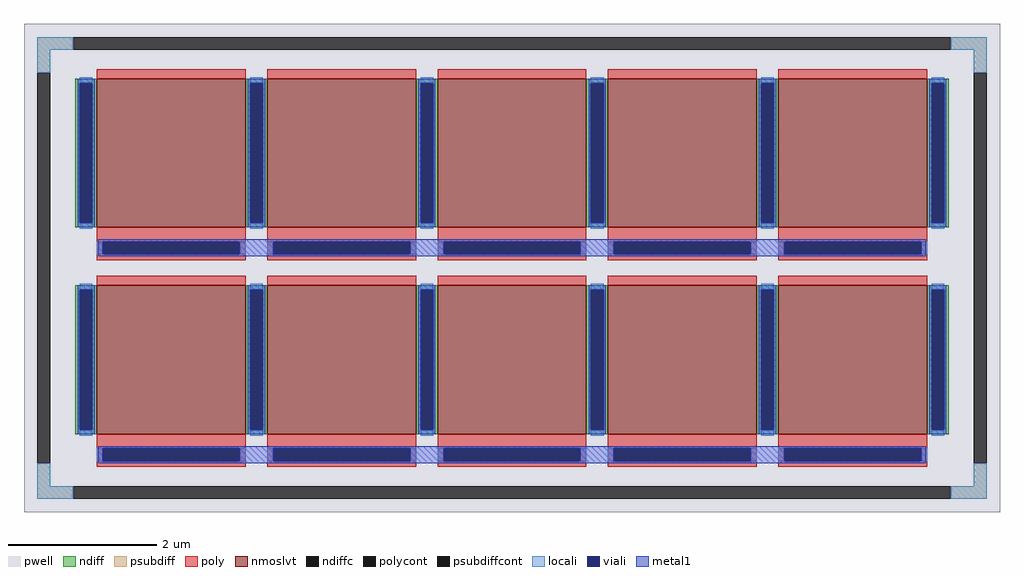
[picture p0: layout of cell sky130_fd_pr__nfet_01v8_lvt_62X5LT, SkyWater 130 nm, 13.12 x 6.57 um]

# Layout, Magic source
magic
tech sky130A
magscale 1 2
<< pwell >>
rect -1312 -657 1312 657
<< nmoslvt >>
rect -1116 109 -716 509
rect -658 109 -258 509
rect -200 109 200 509
rect 258 109 658 509
rect 716 109 1116 509
rect -1116 -447 -716 -47
rect -658 -447 -258 -47
rect -200 -447 200 -47
rect 258 -447 658 -47
rect 716 -447 1116 -47
<< ndiff >>
rect -1174 497 -1116 509
rect -1174 121 -1162 497
rect -1128 121 -1116 497
rect -1174 109 -1116 121
rect -716 497 -658 509
rect -716 121 -704 497
rect -670 121 -658 497
rect -716 109 -658 121
rect -258 497 -200 509
rect -258 121 -246 497
rect -212 121 -200 497
rect -258 109 -200 121
rect 200 497 258 509
rect 200 121 212 497
rect 246 121 258 497
rect 200 109 258 121
rect 658 497 716 509
rect 658 121 670 497
rect 704 121 716 497
rect 658 109 716 121
rect 1116 497 1174 509
rect 1116 121 1128 497
rect 1162 121 1174 497
rect 1116 109 1174 121
rect -1174 -59 -1116 -47
rect -1174 -435 -1162 -59
rect -1128 -435 -1116 -59
rect -1174 -447 -1116 -435
rect -716 -59 -658 -47
rect -716 -435 -704 -59
rect -670 -435 -658 -59
rect -716 -447 -658 -435
rect -258 -59 -200 -47
rect -258 -435 -246 -59
rect -212 -435 -200 -59
rect -258 -447 -200 -435
rect 200 -59 258 -47
rect 200 -435 212 -59
rect 246 -435 258 -59
rect 200 -447 258 -435
rect 658 -59 716 -47
rect 658 -435 670 -59
rect 704 -435 716 -59
rect 658 -447 716 -435
rect 1116 -59 1174 -47
rect 1116 -435 1128 -59
rect 1162 -435 1174 -59
rect 1116 -447 1174 -435
<< ndiffc >>
rect -1162 121 -1128 497
rect -704 121 -670 497
rect -246 121 -212 497
rect 212 121 246 497
rect 670 121 704 497
rect 1128 121 1162 497
rect -1162 -435 -1128 -59
rect -704 -435 -670 -59
rect -246 -435 -212 -59
rect 212 -435 246 -59
rect 670 -435 704 -59
rect 1128 -435 1162 -59
<< psubdiff >>
rect -1276 587 -1180 621
rect 1180 587 1276 621
rect -1276 525 -1242 587
rect 1242 525 1276 587
rect -1276 -587 -1242 -525
rect 1242 -587 1276 -525
rect -1276 -621 -1180 -587
rect 1180 -621 1276 -587
<< psubdiffcont >>
rect -1180 587 1180 621
rect -1276 -525 -1242 525
rect 1242 -525 1276 525
rect -1180 -621 1180 -587
<< poly >>
rect -1116 509 -716 535
rect -658 509 -258 535
rect -200 509 200 535
rect 258 509 658 535
rect 716 509 1116 535
rect -1116 71 -716 109
rect -1116 37 -1100 71
rect -732 37 -716 71
rect -1116 21 -716 37
rect -658 71 -258 109
rect -658 37 -642 71
rect -274 37 -258 71
rect -658 21 -258 37
rect -200 71 200 109
rect -200 37 -184 71
rect 184 37 200 71
rect -200 21 200 37
rect 258 71 658 109
rect 258 37 274 71
rect 642 37 658 71
rect 258 21 658 37
rect 716 71 1116 109
rect 716 37 732 71
rect 1100 37 1116 71
rect 716 21 1116 37
rect -1116 -47 -716 -21
rect -658 -47 -258 -21
rect -200 -47 200 -21
rect 258 -47 658 -21
rect 716 -47 1116 -21
rect -1116 -485 -716 -447
rect -1116 -519 -1100 -485
rect -732 -519 -716 -485
rect -1116 -535 -716 -519
rect -658 -485 -258 -447
rect -658 -519 -642 -485
rect -274 -519 -258 -485
rect -658 -535 -258 -519
rect -200 -485 200 -447
rect -200 -519 -184 -485
rect 184 -519 200 -485
rect -200 -535 200 -519
rect 258 -485 658 -447
rect 258 -519 274 -485
rect 642 -519 658 -485
rect 258 -535 658 -519
rect 716 -485 1116 -447
rect 716 -519 732 -485
rect 1100 -519 1116 -485
rect 716 -535 1116 -519
<< polycont >>
rect -1100 37 -732 71
rect -642 37 -274 71
rect -184 37 184 71
rect 274 37 642 71
rect 732 37 1100 71
rect -1100 -519 -732 -485
rect -642 -519 -274 -485
rect -184 -519 184 -485
rect 274 -519 642 -485
rect 732 -519 1100 -485
<< locali >>
rect -1276 587 -1180 621
rect 1180 587 1276 621
rect -1276 525 -1242 587
rect 1242 525 1276 587
rect -1162 497 -1128 513
rect -1162 105 -1128 121
rect -704 497 -670 513
rect -704 105 -670 121
rect -246 497 -212 513
rect -246 105 -212 121
rect 212 497 246 513
rect 212 105 246 121
rect 670 497 704 513
rect 670 105 704 121
rect 1128 497 1162 513
rect 1128 105 1162 121
rect -1116 37 -1100 71
rect -732 37 -716 71
rect -658 37 -642 71
rect -274 37 -258 71
rect -200 37 -184 71
rect 184 37 200 71
rect 258 37 274 71
rect 642 37 658 71
rect 716 37 732 71
rect 1100 37 1116 71
rect -1162 -59 -1128 -43
rect -1162 -451 -1128 -435
rect -704 -59 -670 -43
rect -704 -451 -670 -435
rect -246 -59 -212 -43
rect -246 -451 -212 -435
rect 212 -59 246 -43
rect 212 -451 246 -435
rect 670 -59 704 -43
rect 670 -451 704 -435
rect 1128 -59 1162 -43
rect 1128 -451 1162 -435
rect -1116 -519 -1100 -485
rect -732 -519 -716 -485
rect -658 -519 -642 -485
rect -274 -519 -258 -485
rect -200 -519 -184 -485
rect 184 -519 200 -485
rect 258 -519 274 -485
rect 642 -519 658 -485
rect 716 -519 732 -485
rect 1100 -519 1116 -485
rect -1276 -587 -1242 -525
rect 1242 -587 1276 -525
rect -1276 -621 -1180 -587
rect 1180 -621 1276 -587
<< viali >>
rect -1162 121 -1128 497
rect -704 121 -670 497
rect -246 121 -212 497
rect 212 121 246 497
rect 670 121 704 497
rect 1128 121 1162 497
rect -1100 37 -732 71
rect -642 37 -274 71
rect -184 37 184 71
rect 274 37 642 71
rect 732 37 1100 71
rect -1162 -435 -1128 -59
rect -704 -435 -670 -59
rect -246 -435 -212 -59
rect 212 -435 246 -59
rect 670 -435 704 -59
rect 1128 -435 1162 -59
rect -1100 -519 -732 -485
rect -642 -519 -274 -485
rect -184 -519 184 -485
rect 274 -519 642 -485
rect 732 -519 1100 -485
<< metal1 >>
rect -1168 497 -1122 509
rect -1168 121 -1162 497
rect -1128 121 -1122 497
rect -1168 109 -1122 121
rect -710 497 -664 509
rect -710 121 -704 497
rect -670 121 -664 497
rect -710 109 -664 121
rect -252 497 -206 509
rect -252 121 -246 497
rect -212 121 -206 497
rect -252 109 -206 121
rect 206 497 252 509
rect 206 121 212 497
rect 246 121 252 497
rect 206 109 252 121
rect 664 497 710 509
rect 664 121 670 497
rect 704 121 710 497
rect 664 109 710 121
rect 1122 497 1168 509
rect 1122 121 1128 497
rect 1162 121 1168 497
rect 1122 109 1168 121
rect -1112 71 1112 77
rect -1112 37 -1100 71
rect -732 37 -642 71
rect -274 37 -184 71
rect 184 37 274 71
rect 642 37 732 71
rect 1100 37 1112 71
rect -1112 31 1112 37
rect -1168 -59 -1122 -47
rect -1168 -435 -1162 -59
rect -1128 -435 -1122 -59
rect -1168 -447 -1122 -435
rect -710 -59 -664 -47
rect -710 -435 -704 -59
rect -670 -435 -664 -59
rect -710 -447 -664 -435
rect -252 -59 -206 -47
rect -252 -435 -246 -59
rect -212 -435 -206 -59
rect -252 -447 -206 -435
rect 206 -59 252 -47
rect 206 -435 212 -59
rect 246 -435 252 -59
rect 206 -447 252 -435
rect 664 -59 710 -47
rect 664 -435 670 -59
rect 704 -435 710 -59
rect 664 -447 710 -435
rect 1122 -59 1168 -47
rect 1122 -435 1128 -59
rect 1162 -435 1168 -59
rect 1122 -447 1168 -435
rect -1112 -485 1112 -479
rect -1112 -519 -1100 -485
rect -732 -519 -642 -485
rect -274 -519 -184 -485
rect 184 -519 274 -485
rect 642 -519 732 -485
rect 1100 -519 1112 -485
rect -1112 -525 1112 -519
<< properties >>
string FIXED_BBOX -1259 -604 1259 604
string gencell sky130_fd_pr__nfet_01v8_lvt
string library sky130
string parameters w 2.0 l 2.0 m 2 nf 5 diffcov 100 polycov 100 guard 1 glc 1 grc 1 gtc 1 gbc 1 tbcov 100 rlcov 100 topc 0 botc 1 poverlap 0 doverlap 1 lmin 0.15 wmin 0.42 compatible {sky130_fd_pr__nfet_01v8 sky130_fd_pr__nfet_01v8_lvt  sky130_fd_bs_flash__special_sonosfet_star  sky130_fd_pr__nfet_g5v0d10v5 sky130_fd_pr__nfet_05v0_nvt  sky130_fd_pr__nfet_03v3_nvt} full_metal 1 viasrc 100 viadrn 100 viagate 100 viagb 0 viagr 0 viagl 0 viagt 0
<< end >>
